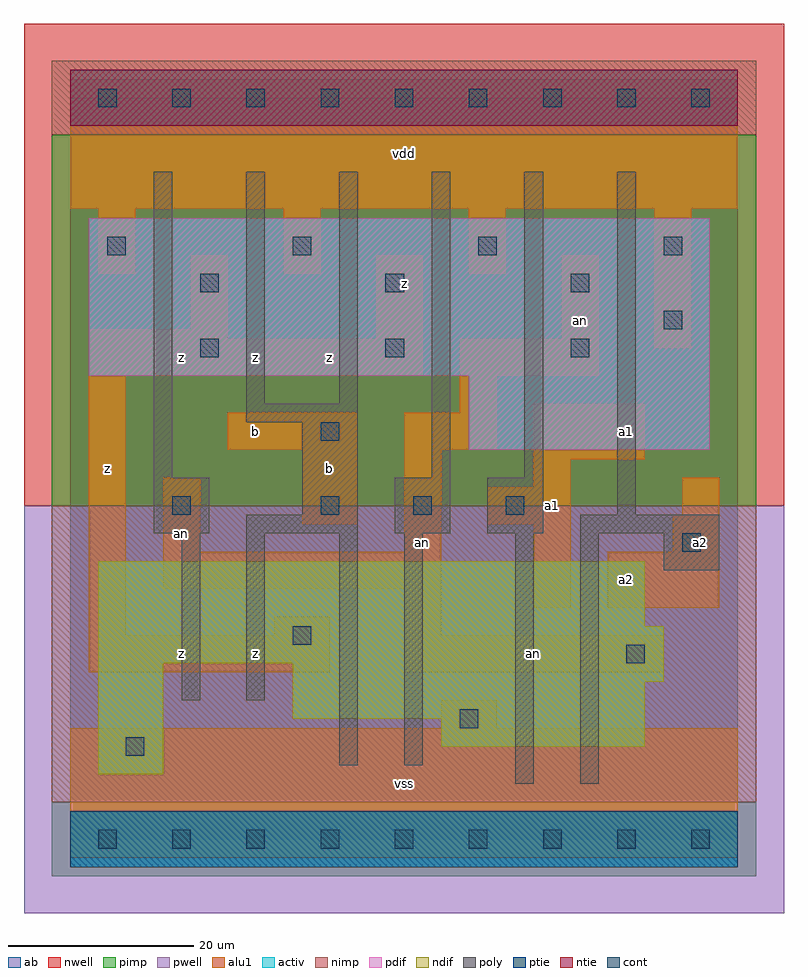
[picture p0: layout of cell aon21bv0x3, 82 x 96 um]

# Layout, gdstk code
import gdstk
lib = gdstk.Library(unit=1e-6, precision=1e-09)
def R(c, l, rs):  # rectangles x0, y0, x1, y1
    for r in rs: c.add(gdstk.rectangle(r[:2], r[2:], *l))
def A(c, l, x, y, w, h, nx, ny, dx, dy):  # array of equal rectangles
    R(c, l, [(x+i*dx, y+j*dy, x+i*dx+w, y+j*dy+h) for i in range(nx) for j in range(ny)])
ndif = (3, 0)
pdif = (4, 0)
ntie = (5, 0)
ptie = (6, 0)
cont = (25, 0)
pwell = (41, 0)
nwell = (42, 0)
activ = (43, 0)
pimp = (44, 0)
nimp = (45, 0)
poly = (46, 0)
alu1 = (49, 0)
ab = (63, 0)

aon21bv0x3 = lib.new_cell('aon21bv0x3')
R(aon21bv0x3, ndif, [(3,7,10,19), (40,10,62,13), (24,13,62,17), (24,17,64,19), (3,19,64,23), (3,23,62,30)])
R(aon21bv0x3, pdif, [(43,42,69,50), (2,50,69,67)])
R(aon21bv0x3, ntie, [(0,77,72,83)])
R(aon21bv0x3, ptie, [(0,-3,72,3)])
A(aon21bv0x3, cont, 3, -1, 2, 2, 9, 2, 8, 80)
A(aon21bv0x3, cont, 27, 35, 2, 2, 3, 1, 10, 0)
A(aon21bv0x3, cont, 14, 52, 2, 2, 3, 2, 20, 7)
A(aon21bv0x3, cont, 4, 63, 2, 2, 4, 1, 20, 0)
R(aon21bv0x3, cont, [(6,9,8,11), (42,12,44,14), (60,19,62,21), (24,21,26,23), (66,31,68,33), (11,35,13,37), (27,43,29,45), (64,55,66,57)])
R(aon21bv0x3, pwell, [(-5,-8,77,36)])
R(aon21bv0x3, nwell, [(-5,36,77,88)])
R(aon21bv0x3, activ, [(0,-3,72,3), (3,7,10,19), (40,10,62,13), (24,13,62,17), (24,17,64,19), (3,19,64,23), (3,23,62,30), (43,42,69,50), (2,50,69,67), (0,77,72,83)])
R(aon21bv0x3, pimp, [(-2,-4,74,4), (-2,36,74,76)])
R(aon21bv0x3, nimp, [(-2,4,74,36), (-2,76,74,84)])
R(aon21bv0x3, poly, [(48,6,50,33), (55,6,57,33), (29,8,31,33), (36,8,38,33), (12,15,14,33), (19,15,21,33), (64,29,70,33), (9,33,15,39), (19,33,31,35), (35,33,41,39), (45,33,51,39), (55,33,70,35), (25,35,31,45), (59,35,61,72), (9,39,11,72), (39,39,41,72), (49,39,51,72), (19,45,31,47), (19,47,21,72), (29,47,31,72)])
A(aon21bv0x3, alu1, 3, 61, 4, 7, 3, 1, 20, 0)
R(aon21bv0x3, alu1, [(0,-2,72,12), (40,12,46,15), (2,18,28,22), (36,18,64,22), (2,22,6,50), (22,22,28,24), (36,22,40,27), (50,25,54,34), (58,25,70,31), (10,27,40,31), (10,31,14,39), (36,31,40,42), (65,31,70,35), (25,34,31,42), (45,34,54,38), (66,35,70,39), (50,38,54,41), (50,41,62,47), (17,42,31,46), (36,42,46,46), (42,46,46,50), (2,50,38,54), (42,50,57,54), (63,53,67,68), (2,54,17,55), (33,54,38,63), (53,54,57,63), (13,55,17,63), (0,68,72,82)])
R(aon21bv0x3, ab, [(0,0,72,80)])
aon21bv0x3.add(gdstk.Label('an', (12,33), layer=49, texttype=0))
aon21bv0x3.add(gdstk.Label('an', (38,32), layer=49, texttype=0))
aon21bv0x3.add(gdstk.Label('an', (50,20), layer=49, texttype=0))
aon21bv0x3.add(gdstk.Label('an', (55,56), layer=49, texttype=0))
aon21bv0x3.add(gdstk.Label('z', (12,20), layer=49, texttype=0))
aon21bv0x3.add(gdstk.Label('z', (4,40), layer=49, texttype=0))
aon21bv0x3.add(gdstk.Label('z', (12,52), layer=49, texttype=0))
aon21bv0x3.add(gdstk.Label('z', (20,20), layer=49, texttype=0))
aon21bv0x3.add(gdstk.Label('b', (28,40), layer=49, texttype=0))
aon21bv0x3.add(gdstk.Label('b', (20,44), layer=49, texttype=0))
aon21bv0x3.add(gdstk.Label('z', (20,52), layer=49, texttype=0))
aon21bv0x3.add(gdstk.Label('z', (28,52), layer=49, texttype=0))
aon21bv0x3.add(gdstk.Label('vss', (36,6), layer=49, texttype=0))
aon21bv0x3.add(gdstk.Label('a1', (52,36), layer=49, texttype=0))
aon21bv0x3.add(gdstk.Label('z', (36,60), layer=49, texttype=0))
aon21bv0x3.add(gdstk.Label('vdd', (36,74), layer=49, texttype=0))
aon21bv0x3.add(gdstk.Label('a2', (60,28), layer=49, texttype=0))
aon21bv0x3.add(gdstk.Label('a2', (68,32), layer=49, texttype=0))
aon21bv0x3.add(gdstk.Label('a1', (60,44), layer=49, texttype=0))

lib.write_gds('aon21bv0x3.gds')
